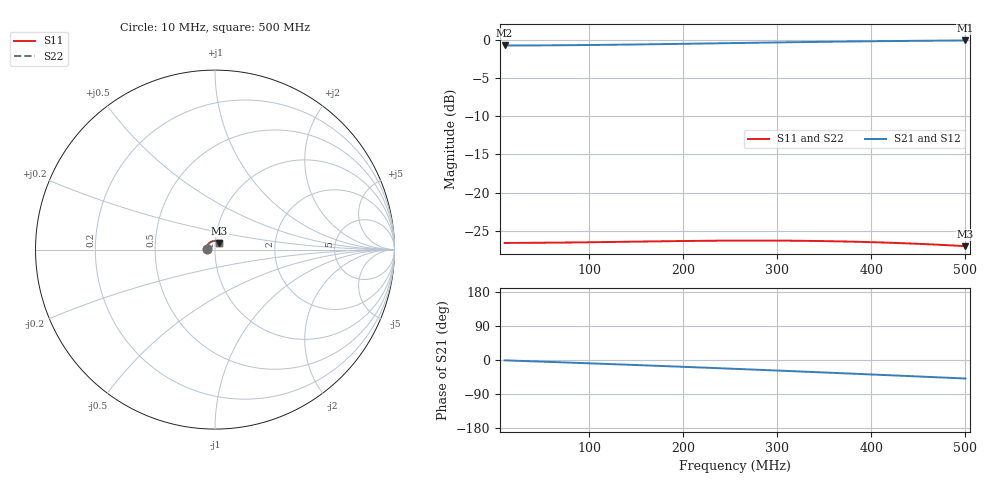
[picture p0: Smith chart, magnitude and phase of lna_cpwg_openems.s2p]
! Full-Wave 3D EM Simulation: 98 MHz LNA 50-Ohm CPWG Line
! Solver: openEMS FDTD (via freecad-microwave)
! Substrate: LionCircuits FR-4 (H=1.6mm, Er=4.5, Tand=0.02, Cu=35um)
! Geometry: Length=46.0mm, Width=1.5mm, Gap=0.35mm, Via Fence Y=+/-2.5mm
! Frequency Band: 10 MHz to 500 MHz (101 points)
# HZ S RI R 50.0
!freq ReS11 ImS11 ReS21 ImS21 ReS12 ImS12 ReS22 ImS22
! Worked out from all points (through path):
!   101 points, 10 MHz to 500 MHz, reference 50 ohm
!   highest |S21| = -0.10 dB at 500 MHz (marker M1); lowest = -0.8 dB at 10 MHz (marker M2)
!   group delay of S21, straight-line fit = 273 ps
!   lowest |S11| = -27.0 dB at 500 MHz (marker M3), VSWR 1.09, Z = 52.4 + j3.91 ohm
!   |S11| at or under -10 dB: start of sweep to end of sweep
!   |S22| runs from -27.0 to -26.3 dB; largest |S21 - S12| = 0
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1e7  -0.0468 0.00268  0.9164 -0.0138  0.9164 -0.0138  -0.0468 0.00268
4.92e7  -0.0452 0.013  0.9156 -0.0684  0.9156 -0.0684  -0.0452 0.013
9.33e7  -0.041 0.0237  0.913 -0.1308  0.913 -0.1308  -0.041 0.0237
1.374e8  -0.0346 0.0329  0.9078 -0.1952  0.9078 -0.1952  -0.0346 0.0329
1.57e8  -0.0312 0.0363  0.9044 -0.2245  0.9044 -0.2245  -0.0312 0.0363
1.766e8  -0.0276 0.0393  0.9002 -0.2542  0.9002 -0.2542  -0.0276 0.0393
1.962e8  -0.0239 0.0419  0.895 -0.2843  0.895 -0.2843  -0.0239 0.0419
2.158e8  -0.02 0.0441  0.8888 -0.3148  0.8888 -0.3148  -0.02 0.0441
2.354e8  -0.016 0.0458  0.8815 -0.3456  0.8815 -0.3456  -0.016 0.0458
2.55e8  -0.012 0.0471  0.873 -0.3766  0.873 -0.3766  -0.012 0.0471
2.795e8  -0.00712 0.0481  0.8605 -0.4156  0.8605 -0.4156  -0.00712 0.0481
2.991e8  -0.0033 0.0485  0.849 -0.4468  0.849 -0.4468  -0.0033 0.0485
3.187e8  0.000396 0.0485  0.8361 -0.4779  0.8361 -0.4779  0.000396 0.0485
3.383e8  0.00393 0.0482  0.8218 -0.5089  0.8218 -0.5089  0.00393 0.0482
3.579e8  0.00727 0.0476  0.8061 -0.5396  0.8061 -0.5396  0.00727 0.0476
3.775e8  0.0104 0.0467  0.7889 -0.5699  0.7889 -0.5699  0.0104 0.0467
3.971e8  0.0133 0.0456  0.7703 -0.5997  0.7703 -0.5997  0.0133 0.0456
4.216e8  0.0166 0.044  0.7451 -0.636  0.7451 -0.636  0.0166 0.044
4.412e8  0.019 0.0425  0.7234 -0.6644  0.7234 -0.6644  0.019 0.0425
4.608e8  0.0211 0.0408  0.7004 -0.6919  0.7004 -0.6919  0.0211 0.0408
4.804e8  0.023 0.0391  0.6762 -0.7185  0.6762 -0.7185  0.023 0.0391
5e8  0.0246 0.0373  0.6507 -0.7442  0.6507 -0.7442  0.0246 0.0373
